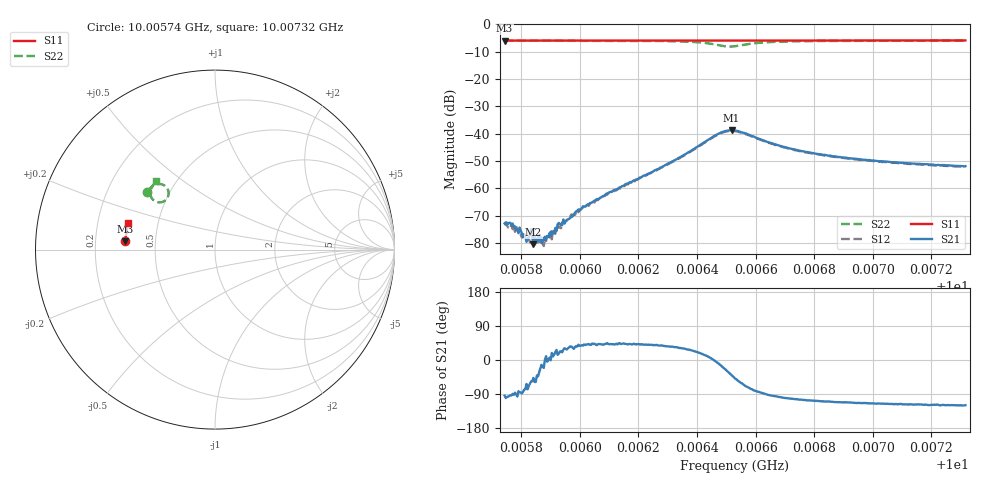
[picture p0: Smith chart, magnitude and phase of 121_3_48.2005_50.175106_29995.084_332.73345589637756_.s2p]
#  HZ  S  RI  R  50.00
! Rohde & Schwarz Vector Network Analyzer
! Rohde-Schwarz,ZNB20-2Port,1311601062101988,3.16
! Created: UTC 3/20/2024, 11:41:31 AM
! freq[Hz]  re:S11  im:S11  re:S21  im:S21  re:S12  im:S12  re:S22  im:S22
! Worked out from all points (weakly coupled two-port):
!   401 points, 10.00574 GHz to 10.00732 GHz, reference 50 ohm
!   highest |S21| = -38.80 dB at 10.00652 GHz (marker M1); lowest = -80.5 dB at 10.00584 GHz (marker M2)
!   lowest |S11| = -6.0 dB at 10.00574 GHz (marker M3), VSWR 3.01, Z = 16.7 + j2.04 ohm
!   |S11| at or under -10 dB: nowhere
!   |S22| runs from -8.2 to -6.0 dB; largest |S21 - S12| = 0.00076
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1.0005743e10  -0.4989 0.0459  -1.64e-05 -0.000226  -5.41e-06 -0.000217  -0.3793 0.3221
1.000577e10  -0.4988 0.0476  2.53e-06 -0.000226  2.33e-05 -0.000177  -0.3778 0.3236
1.0005782e10  -0.4989 0.0484  5.99e-07 -0.000175  2.59e-05 -0.000208  -0.3773 0.3244
1.0005802e10  -0.4987 0.0497  4.29e-06 -0.000149  2.35e-05 -0.000124  -0.3761 0.3257
1.0005814e10  -0.4988 0.0504  2.81e-05 -0.000123  2.82e-05 -0.000137  -0.3756 0.3264
1.0005829e10  -0.4986 0.0516  6.69e-05 -0.000126  4.71e-05 -9.09e-05  -0.3748 0.3276
1.0005841e10  -0.4986 0.0523  6.42e-05 -6.93e-05  9.89e-05 -7.19e-05  -0.3741 0.3281
1.0005849e10  -0.4986 0.053  5.24e-05 -8.41e-05  4.96e-05 -7.15e-05  -0.3737 0.3287
1.0005877e10  -0.4983 0.0547  0.000102 -3.89e-05  8.75e-05 1.19e-06  -0.3723 0.3304
1.0005892e10  -0.4982 0.0556  0.000128 1.08e-06  0.000145 1.36e-05  -0.3713 0.3315
1.0005912e10  -0.4982 0.0569  0.000144 3.7e-05  0.000154 3.97e-05  -0.3704 0.3328
1.0005924e10  -0.4981 0.0576  0.000212 5.11e-05  0.000188 9.17e-05  -0.3695 0.3335
1.0006006e10  -0.4975 0.0629  0.000335 0.000272  0.000323 0.000277  -0.3642 0.3392
1.0006097e10  -0.4971 0.069  0.000609 0.000555  0.000577 0.000569  -0.3573 0.3457
1.000627e10  -0.4957 0.0802  0.0018 0.0014  0.00169 0.00147  -0.3365 0.3598
1.0006467e10  -0.4929 0.0927  0.00947 -0.000897  0.00927 -0.000375  -0.2609 0.3296
1.0006518e10  -0.4923 0.0953  0.00879 -0.00738  0.00895 -0.00674  -0.2795 0.2725
1.000653e10  -0.4922 0.0959  0.00754 -0.00853  0.00782 -0.00784  -0.2928 0.2655
1.0006616e10  -0.4921 0.1013  0.000559 -0.00782  0.000907 -0.00765  -0.3549 0.2909
1.0006793e10  -0.4903 0.1129  -0.0013 -0.00419  -0.00113 -0.0042  -0.3562 0.3377
1.0007057e10  -0.4867 0.1296  -0.00133 -0.00273  -0.00117 -0.00272  -0.3407 0.3635
1.0007317e10  -0.4826 0.1459  -0.00124 -0.00221  -0.00116 -0.00218  -0.3265 0.3797
